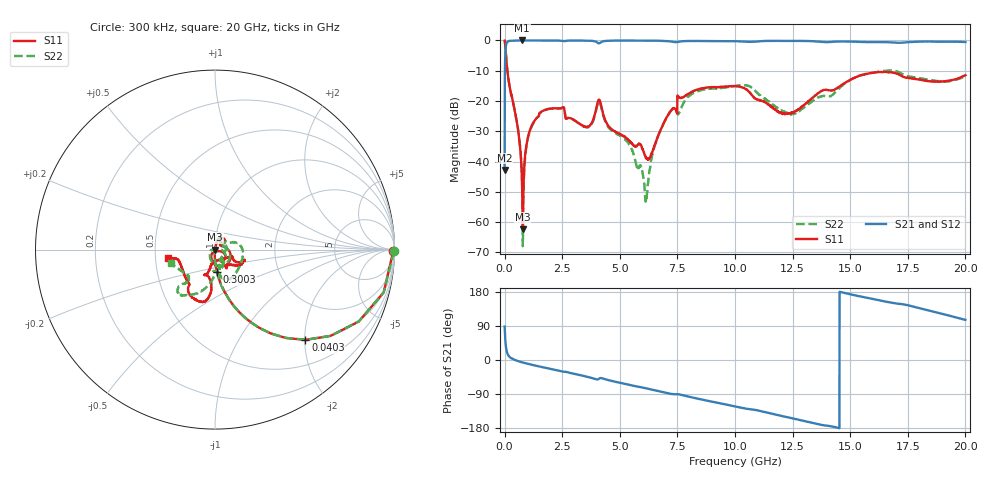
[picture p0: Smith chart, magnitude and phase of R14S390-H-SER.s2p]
!{R14S390}
!Johanson Technology Inc.
!www.johansontechnology.com
!Test Board Conditions:
!Substrate Type  RO4350B
!Substrate Thickness  20 mil
!Substrate Dk  3.66
!TL Type: GCPW
!TL Trace Width  36 mil
!TL Gap  12 mil
!Electrode orientation  Horizontal
!DUT TOPOLOGY	SERIES
!Mounting Pad LxW  26x36 mil
! Created Wed Nov 25 17:33:21 2020
! 2 Port Network Data from SP1.SP block
! freq  magS11  angS11  magS21  angS21  magS12  angS12  magS22  angS22
# khz S ma R 50
! decimated to every 10th point (10 MHz spacing) of the original 1 MHz Johanson file; values unchanged
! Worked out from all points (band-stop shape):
!   2001 points, 300 kHz to 20 GHz, reference 50 ohm
!   highest |S21| = 0.00 dB at 760.3 MHz (marker M1); lowest = -42.8 dB at 300 kHz (marker M2)
!   |S21| within 3 dB of the highest: 41.46 MHz to end of sweep
!   lowest |S11| = -62.3 dB at 790.3 MHz (marker M3), VSWR 1.00, Z = 50.1 + j0.0285 ohm
!   |S11| at or under -10 dB: 120.4 MHz to end of sweep
!   |S22| runs from -67.9 to 0.0 dB; largest |S21 - S12| = 0.018
!   S11 on the Smith chart (normalised r, x): 300 kHz: open; 40.3 MHz: 0.99, -2.01; 300.3 MHz: 0.99, -0.25; 20 GHz: 0.58, -0.06
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300  0.9927 -0.6  0.007241 88.2  0.007267 89.0  0.9969 -0.6
40300  0.7116 -44.9  0.6996 45.1  0.701 45.0  0.713 -44.8
110300  0.343 -70.8  0.9386 19.1  0.9376 19.0  0.3442 -70.8
300300  0.1261 -84.9  0.9906 4.8  0.9899 4.8  0.1266 -84.9
600300  0.03059 -92.8  0.9984 -3.2  0.9989 -3.2  0.0309 -92.3
760300  0.004016 -90.4  0.9999 -6.2  0.9979 -6.1  0.004807 -94.6
790300  0.0007639 21.8  0.9987 -6.7  0.9989 -6.7  0.0004005 -56.0
1070300  0.03049 77.3  0.9988 -11.0  0.9981 -11.0  0.02959 79.0
1600300  0.06657 72.7  0.9964 -18.4  0.9967 -18.4  0.06598 69.8
3340300  0.04008 45.9  0.9953 -40.8  0.9951 -40.7  0.03986 44.8
4120300  0.1039 -61.5  0.9001 -48.5  0.8996 -48.5  0.09725 -63.1
4540300  0.03719 -122.7  0.9888 -53.6  0.9889 -53.7  0.03588 -142.8
5450300  0.02107 -123.4  0.9946 -66.0  0.995 -66.0  0.01818 -174.9
6130300  0.01141 -91.9  0.9923 -74.6  0.9918 -74.6  0.002263 113.0
6670300  0.02674 -19.5  0.9904 -81.9  0.9904 -81.9  0.02686 3.2
7600300  0.1138 -55.7  0.9573 -91.0  0.9572 -91.0  0.06603 16.8
8270300  0.1494 -36.5  0.9803 -100.5  0.9796 -100.5  0.1392 11.3
1.00003e7  0.176 -19.4  0.9708 -122.5  0.9707 -122.5  0.1773 -52.1
1.21103e7  0.0625 -68.9  0.9832 -148.9  0.9844 -148.8  0.0676 -61.6
1.33403e7  0.1118 -105.2  0.9716 -165.8  0.9748 -165.8  0.09778 -63.0
1.66703e7  0.2967 -111.2  0.935 152.6  0.9276 152.4  0.3191 -127.7
2e7  0.2658 -170.0  0.9434 105.9  0.9425 106.0  0.2573 -162.7
